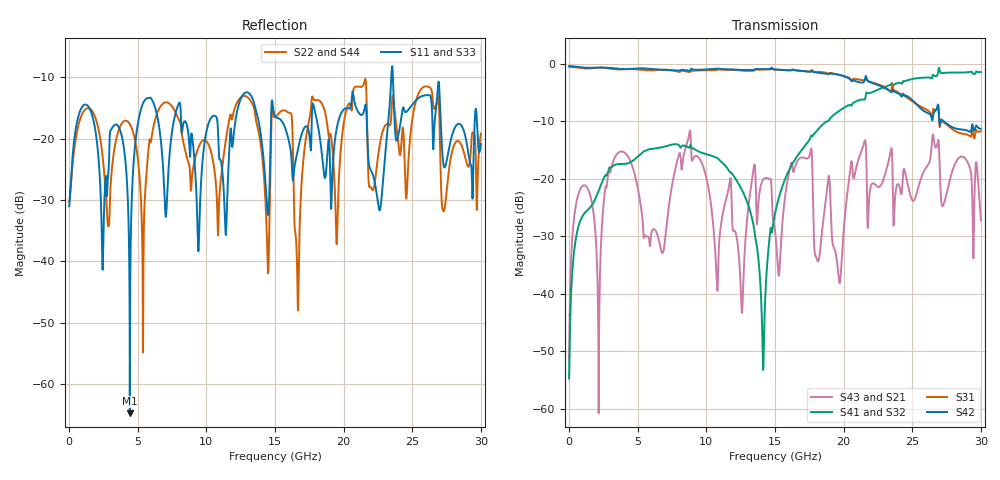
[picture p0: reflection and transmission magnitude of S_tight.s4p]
!MTL model of S_tight, calibrated on full-wave A (medium)
# Hz S RI R 50.0
!freq ReS11 ImS11 ReS12 ImS12 ReS13 ImS13
! ReS14 ImS14
! ReS21 ImS21 ReS22 ImS22 ReS23 ImS23
! ReS24 ImS24
! ReS31 ImS31 ReS32 ImS32 ReS33 ImS33
! ReS34 ImS34
! ReS41 ImS41 ReS42 ImS42 ReS43 ImS43
! ReS44 ImS44
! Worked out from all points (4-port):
!   3000 points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, 10 MHz to 30 GHz, reference 50 ohm
!   strongest paths, dB at 10 MHz, 7.51 GHz, 15.01 GHz, 22.51 GHz, 30 GHz:
!     S42: -0.4, -1.1, -1.0, -3.7, -11.3
!     S31: -0.5, -1.1, -1.0, -3.5, -11.7
!     S41: -54.7, -14.0, -26.0, -4.5, -1.4
!     S32: -54.7, -14.0, -26.0, -4.5, -1.4
!     S43: -54.1, -21.0, -29.1, -21.4, -27.2
!     S21: -54.1, -21.0, -29.1, -21.4, -27.2
!   lowest |S11| = -64.7 dB at 4.43 GHz (marker M1), VSWR 1.00, Z = 50 - j0.0507 ohm
!   |S11| at or under -10 dB: start of sweep to 23.48 GHz; 23.59 GHz to end of sweep
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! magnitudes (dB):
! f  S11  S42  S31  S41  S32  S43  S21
! 10 MHz  -31.0  -0.4  -0.5  -54.7  -54.7  -54.1  -54.1
! 4.43 GHz  -64.7  -0.9  -0.9  -17.2  -17.2  -16.7  -16.7
! 5.63 GHz  -13.5  -0.8  -1.1  -15.0  -15.0  -30.0  -30.0
! 14.14 GHz  -22.5  -0.9  -1.0  -53.2  -53.2  -20.2  -20.2
! 16.65 GHz  -22.0  -1.1  -1.2  -15.9  -15.9  -16.8  -16.8
! 17.69 GHz  -16.4  -1.2  -1.1  -12.5  -12.5  -15.7  -15.7
! 30 GHz  -20.9  -11.3  -11.7  -1.4  -1.4  -27.2  -27.2
